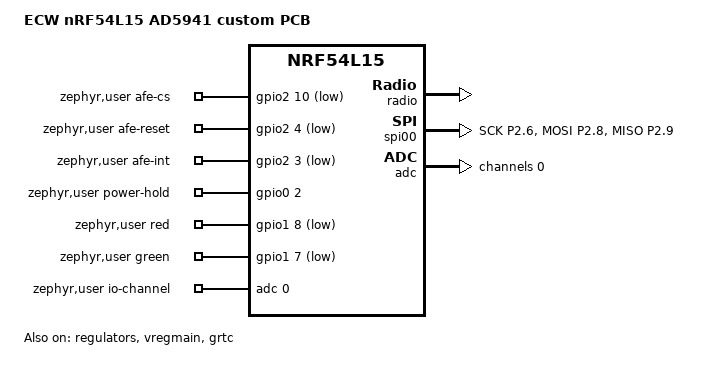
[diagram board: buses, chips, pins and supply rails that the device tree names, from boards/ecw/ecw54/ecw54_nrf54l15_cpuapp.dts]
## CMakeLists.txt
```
cmake_minimum_required(VERSION 3.20.0)
list(APPEND BOARD_ROOT ${CMAKE_CURRENT_SOURCE_DIR})
find_package(Zephyr REQUIRED HINTS $ENV{ZEPHYR_BASE})
project(ecw_single_channel)
target_sources(app PRIVATE
 src/main.c src/power.c src/led.c src/ble.c src/ble_conn.c src/ble_bat.c
 src/ble_aabb.c src/ble_aabb_aab0_ctrl.c src/ble_aabb_aabf_data.c src/ble_aabb_aabe_log.c
 src/method/ec_method.c src/method/methods.c src/method/method_cv.c src/method/method_dpv.c
 src/method/proxy/ec_proxy_bus.c src/method/proxy/ec_proxy_lpamp.c
 src/method/proxy/ec_proxy_cv.c src/method/proxy/ec_proxy_dpv.c
 src/mux/mux.c src/ad5941_port/ad5940_port.c driver/battery.c lib/ad5940/ad5940.c)
target_include_directories(app PRIVATE . src src/method src/ad5941_port lib/ad5940)
target_compile_definitions(app PRIVATE CHIPSEL_594X=1 ECW_AUTOTEST_ENABLE=0)
```

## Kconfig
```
mainmenu "Single electrode electrochemical workstation"
source "Kconfig.zephyr"
menu "Electrochemical workstation"
config ECW_POWER_HOLD
    bool "Drive P0.02 high through D1 to hold LDO EN"
    default y
config ECW_ADC_REFERENCE_MV
    int "Measured AD5941 ADC reference in mV"
    range 1700 1900
    default 1820
config ECW_RTIA_SCALE_PPM
    int "Measured RTIA / nominal RTIA, parts per million"
    range 500000 1500000
    default 1000000
endmenu
config ECW_DISCONNECT_POWEROFF
    bool "Remove power hold after BLE disconnect instead of advertising again"
    default n
config ECW_RCAL_OHM
    int "RCAL resistor R8 in ohms"
    range 1 100000
    default 200
```

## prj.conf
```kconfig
# ─── Logging / Console ───────────────────────────────────────────────────────
CONFIG_LOG=y
CONFIG_CONSOLE=n
CONFIG_UART_CONSOLE=n
CONFIG_PRINTK=y
CONFIG_SERIAL=n
CONFIG_USE_SEGGER_RTT=y
CONFIG_SHELL_BACKEND_RTT=n
CONFIG_LOG_BACKEND_RTT_MODE_DROP=y
CONFIG_LOG_BACKEND_RTT_MESSAGE_SIZE=128

# printf float support
CONFIG_CBPRINTF_NANO=n
CONFIG_CBPRINTF_FP_SUPPORT=y

# ─── Peripheral drivers (reserved for ECW hardware interface) ─────────────────
CONFIG_SPI=y
CONFIG_DAC=n

# ─── Bluetooth Core ──────────────────────────────────────────────────────────
CONFIG_BT=y
CONFIG_BT_PERIPHERAL=y
CONFIG_BT_DEVICE_NAME="ECW R1"

# ─── GATT ────────────────────────────────────────────────────────────────────
CONFIG_BT_GATT_CLIENT=y

# ─── PHY / DLE ───────────────────────────────────────────────────────────────
CONFIG_BT_CTLR_PHY_2M=y
CONFIG_BT_USER_PHY_UPDATE=y
CONFIG_BT_USER_DATA_LEN_UPDATE=y
CONFIG_BT_CTLR_DATA_LENGTH_MAX=251

# ─── MTU ─────────────────────────────────────────────────────────────────────
CONFIG_BT_L2CAP_TX_MTU=500
CONFIG_BT_BUF_ACL_TX_SIZE=500
CONFIG_BT_BUF_ACL_RX_SIZE=500
CONFIG_BT_BUF_ACL_TX_COUNT=10
CONFIG_BT_BUF_EVT_RX_COUNT=11
CONFIG_BT_ATT_TX_COUNT=10

# BLE 功率
CONFIG_BT_CTLR_TX_PWR_PLUS_7=y

# ─── BLE Services ────────────────────────────────────────────────────────────
CONFIG_BT_BAS=y
CONFIG_BT_DIS=y


################################
# DIS 信息（不走 settings）
################################
CONFIG_BT_DIS_PNP=n
CONFIG_BT_DIS_MODEL_NUMBER_STR="MinNeuro R1"
CONFIG_BT_DIS_MANUF_NAME_STR="MinNeuro"

CONFIG_BT_DIS_SERIAL_NUMBER=y
CONFIG_BT_DIS_SERIAL_NUMBER_STR="F.A000001"

CONFIG_BT_DIS_FW_REV=y
CONFIG_BT_DIS_FW_REV_STR="1.2.0-single"
CONFIG_BT_DIS_HW_REV=y
CONFIG_BT_DIS_HW_REV_STR="MinNeuro Hardware"
CONFIG_BT_DIS_SW_REV=y
CONFIG_BT_DIS_SW_REV_STR="MinNeuro Software"


################################
# ❌ 明确关闭 settings（否则必炸）
################################
CONFIG_BT_SETTINGS=n
CONFIG_SETTINGS=n
CONFIG_BT_DIS_SETTINGS=n


################################
# CONFIG
################################

# looper_work_handler 运行于系统工作队列线程，适当加大其栈空间
CONFIG_SYSTEM_WORKQUEUE_STACK_SIZE=4096
# main 线程栈
CONFIG_MAIN_STACK_SIZE=2048

CONFIG_GPIO=y
CONFIG_PWM=n
CONFIG_SPI=y
CONFIG_PINCTRL=y
CONFIG_NRFX_SPIM=y
CONFIG_NRFX_SAADC=y
CONFIG_NRFX_SPIS=n

# ECW additions
CONFIG_REBOOT=y
CONFIG_ADC=y

# CONFIG_NRFX_TIMER=y
# CONFIG_PINCTRL=y
# # CONFIG_I2C=y
# CONFIG_ADC=y
# CONFIG_NRFX_SAADC=y
# CONFIG_REBOOT=y

CONFIG_LOG_BACKEND_RTT=y
CONFIG_POWEROFF=y
CONFIG_SYS_CLOCK_TICKS_PER_SEC=10000
```

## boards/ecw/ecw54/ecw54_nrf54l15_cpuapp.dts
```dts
/dts-v1/;
#include <nordic/nrf54l15_cpuapp.dtsi>
#include <zephyr/dt-bindings/gpio/gpio.h>
#include <zephyr/dt-bindings/pinctrl/nrf-pinctrl.h>
#include <zephyr/dt-bindings/adc/adc.h>
#include <zephyr/dt-bindings/adc/nrf-saadc.h>
#include <zephyr/dt-bindings/regulator/nrf5x.h>
/ {
    model = "ECW nRF54L15 AD5941 custom PCB";
    compatible = "ecw,ecw54";
    chosen {
        zephyr,sram = &cpuapp_sram;
        zephyr,flash = &cpuapp_rram;
        zephyr,flash-controller = &rram_controller;
        zephyr,code-partition = &app_partition;
    };
    zephyr,user {
        afe-cs-gpios = <&gpio2 10 GPIO_ACTIVE_LOW>;
        afe-reset-gpios = <&gpio2 4 GPIO_ACTIVE_LOW>;
        afe-int-gpios = <&gpio2 3 GPIO_ACTIVE_LOW>;
        power-hold-gpios = <&gpio0 2 GPIO_ACTIVE_HIGH>;
        red-gpios = <&gpio1 8 GPIO_ACTIVE_LOW>;
        green-gpios = <&gpio1 7 GPIO_ACTIVE_LOW>;
        io-channels = <&adc 0>;
    };
};
&cpuapp_rram {
    partitions {
        compatible = "fixed-partitions";
        #address-cells = <1>;
        #size-cells = <1>;
        app_partition: partition@0 {
            label = "application";
            reg = <0x0 DT_SIZE_K(1524)>;
        };
    };
};
&cpuapp_sram { status = "okay"; };
&gpio0 { status = "okay"; };
&gpio1 { status = "okay"; };
&gpio2 { status = "okay"; };
&gpiote20 { status = "okay"; };
&gpiote30 { status = "okay"; };
&clock { status = "okay"; };
&radio { status = "okay"; };
&regulators { status = "okay"; };
&vregmain {
    status = "okay";
    regulator-initial-mode = <NRF5X_REG_MODE_DCDC>;
};
/* The schematic already fits external load capacitors on both crystals. */
&hfxo { load-capacitors = "external"; };
&lfxo { load-capacitors = "external"; };
&grtc {
    status = "okay";
    owned-channels = <0 1 2 3 4 5 6 7 8 9 10 11>;
    child-owned-channels = <3 4 7 8 9 10 11>;
};
&pinctrl {
    afe_spi_default: afe_spi_default {
        group1 {
            psels = <NRF_PSEL(SPIM_SCK, 2, 6)>,
                    <NRF_PSEL(SPIM_MOSI, 2, 8)>,
                    <NRF_PSEL(SPIM_MISO, 2, 9)>;
        };
    };
    afe_spi_sleep: afe_spi_sleep {
        group1 {
            psels = <NRF_PSEL(SPIM_SCK, 2, 6)>,
                    <NRF_PSEL(SPIM_MOSI, 2, 8)>,
                    <NRF_PSEL(SPIM_MISO, 2, 9)>;
            low-power-enable;
        };
    };
};
&spi00 {
    status = "okay";
    pinctrl-0 = <&afe_spi_default>;
    pinctrl-1 = <&afe_spi_sleep>;
    pinctrl-names = "default", "sleep";
    /* Manual CS is held across the ADI library's split byte transfers. */
};
&adc {
    status = "okay";
    #address-cells = <1>;
    #size-cells = <0>;
    channel@0 {
        reg = <0>;
        zephyr,gain = "ADC_GAIN_1_4";
        zephyr,reference = "ADC_REF_INTERNAL";
        zephyr,acquisition-time = <ADC_ACQ_TIME_DEFAULT>;
        zephyr,input-positive = <NRF_SAADC_AIN7>;
        zephyr,resolution = <12>;
        zephyr,oversampling = <4>;
    };
};
```

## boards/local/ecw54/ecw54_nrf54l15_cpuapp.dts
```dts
/dts-v1/;
#include <nordic/nrf54l15_cpuapp.dtsi>
#include <zephyr/dt-bindings/pinctrl/nrf-pinctrl.h>
/ {
 model = "ECW nRF54L15 AD5941 single channel";
 compatible = "local,ecw54";
 chosen {
  zephyr,flash-controller = &rram_controller;
  zephyr,flash = &cpuapp_rram;
  zephyr,sram = &cpuapp_sram;
  zephyr,code-partition = &slot0_partition;
 };
};
#include <vendor/nordic/nrf54l15_cpuapp_partition.dtsi>
&cpuapp_sram { status = "okay"; };
&lfxo { load-capacitors = "external"; };
&hfxo { load-capacitors = "external"; };
&regulators { status = "okay"; };
&vregmain { status = "okay"; regulator-initial-mode = <NRF5X_REG_MODE_LDO>; };
&grtc {
 owned-channels = <0 1 2 3 4 5 6 7 8 9 10 11>;
 child-owned-channels = <3 4 7 8 9 10 11>;
 status = "okay";
};
&clock { status = "okay"; };
&gpio0 { status = "okay"; };
&gpio1 { status = "okay"; };
&gpio2 { status = "okay"; };
&gpiote20 { status = "okay"; };
&gpiote30 { status = "okay"; };
&radio { status = "okay"; };
&adc { status = "okay"; };
&pinctrl {
 spi00_default: spi00_default {
  group1 { psels = <NRF_PSEL(SPIM_SCK, 2, 6)>, <NRF_PSEL(SPIM_MISO, 2, 9)>, <NRF_PSEL(SPIM_MOSI, 2, 8)>; };
 };
 spi00_sleep: spi00_sleep {
  group1 { psels = <NRF_PSEL(SPIM_SCK, 2, 6)>, <NRF_PSEL(SPIM_MISO, 2, 9)>, <NRF_PSEL(SPIM_MOSI, 2, 8)>; low-power-enable; };
 };
};
&spi00 {
 compatible = "nordic,nrf-spim";
 status = "okay";
 pinctrl-0 = <&spi00_default>;
 pinctrl-1 = <&spi00_sleep>;
 pinctrl-names = "default", "sleep";
 /* CS P2.10 is controlled manually by the ADI port. */
};
```

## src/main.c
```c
#include <zephyr/kernel.h>
#include "inc/power.h"
#include "inc/led.h"
#include "inc/ble.h"
#include "method/inc/ec_method.h"
#include "method/inc/methods.h"
int main(void) {
 int rc = power_init(); if (rc) return rc;
 rc = led_init(); if (rc) return rc;
 ec_method_init(); methods_register_all();
 rc = ble_init(); if (rc) { led_pattern_error(true); return rc; }
 return 0;
}
```

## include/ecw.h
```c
#ifndef ECW_H
#define ECW_H
#include "ecw_wire.h"
#include <zephyr/sys/atomic.h>
extern atomic_t ecw_stop;
int board_io_init(void);
int board_battery_mv(void);
void board_led_error(bool error);
void board_led_connected(bool connected);
void board_led_advertising(bool advertising);
void board_led_shutdown(void);
int board_power_off(void);
int afe_port_init(void);
int afe_port_error(void);
void afe_port_clear_error(void);
int afe_init(void);
int afe_prepare(bool ocp, int32_t rtia_ohm);
int afe_set_potential(int32_t mv, int32_t *actual_uv);
int afe_current(int32_t *na, uint8_t *flags);
int afe_reduce_current_range(void);
int afe_ocp(int32_t *uv, uint8_t *flags);
int afe_eis_point(const struct ecw_request *r, uint32_t mhz, struct ecw_sample *s);
void afe_idle(void);
bool afe_ready(void);
bool afe_boot_finished(void);
uint16_t afe_chip_id(void);
int afe_select_rtia(int32_t ohm);
int methods_submit(const struct ecw_request *r, uint32_t generation);
void methods_release(void);
bool methods_busy(void);
int methods_stop(uint8_t method);
void methods_state(uint8_t out[5]);
void methods_reset_error(void);
void methods_init(void);
int methods_prepare_poweroff(void);
int ble_link_init(void);
int ble_link_stop(void);
uint32_t ble_session(void);
bool ble_stream_ready(void);
int ble_frame(uint32_t generation, uint8_t method, uint8_t type, uint16_t session, uint16_t seq, const struct ecw_sample *sample);
void ble_log(uint8_t level, uint16_t code, const char *message);
bool ble_error_active(void);
bool ble_connected(void);
int ble_tx_error(void);
#endif
```

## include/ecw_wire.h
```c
#ifndef ECW_WIRE_H
#define ECW_WIRE_H
#include <stdbool.h>
#include <stddef.h>
#include <stdint.h>
enum ecw_method { ECW_IDLE=0, ECW_CV=1, ECW_CA=2, ECW_EIS=3, ECW_DPV=4, ECW_OCP=5, ECW_STIM=6 };
#define ECW_OP_START 3
#define ECW_OP_STOP 4
#define ECW_OP_RESET 5
#define ECW_OP_PING 254
#define ECW_UNSUPPORTED (-95)
struct ecw_request {
    enum ecw_method method;
    uint16_t session_id;
    uint8_t gear;
    int32_t start_mv, vertex1_mv, vertex2_mv, end_mv, step_mv, rate_mv_s;
    uint32_t cycles, period_ms, pulse_ms, duration_ms, interval_ms, quiet_ms;
    int32_t pulse_mv, rtia_ohm;
    uint32_t freq_start_mhz, freq_end_mhz, points_per_dec, averages;
};
struct ecw_sample {
    uint8_t method, flags;
    uint32_t index, elapsed_ms;
    int32_t potential_uv, current_na, base_na, pulse_na;
    uint32_t freq_mhz;
    int32_t z_real_mohm, z_imag_mohm;
};
#define ECW_FLAG_ADC_RAIL 1U
uint16_t wire_u16(const uint8_t *p);
uint32_t wire_u32(const uint8_t *p);
void wire_put16(uint8_t *p, uint16_t v);
void wire_put32(uint8_t *p, uint32_t v);
int8_t wire_error(int rc);
int wire_decode_start(const uint8_t *p, size_t len, struct ecw_request *r);
int wire_validate(const struct ecw_request *r);
size_t wire_frame(uint8_t *out, uint8_t method, uint8_t type, uint16_t session, uint16_t seq, const struct ecw_sample *s);
#endif
```

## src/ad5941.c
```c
#include "ecw.h"
#include "ad5940.h"
#include <zephyr/kernel.h>
#include <math.h>
#include <stdlib.h>
static atomic_t ready;
static uint16_t chip_id;
static float rtia_actual = 10000.0f;
static int32_t rtia_nominal = 10000;
static float avdd_actual = 3.3f;
static int adc_volt(uint32_t p, uint32_t n, float *volt, uint8_t *flags);
/* The library uses the same protocol/register map for AD5940 and AD5941. */
static const struct { int32_t ohm; uint32_t code; } rtias[] = {
    {200,LPTIARTIA_200R},{1000,LPTIARTIA_1K},{2000,LPTIARTIA_2K},
    {3000,LPTIARTIA_3K},{4000,LPTIARTIA_4K},{6000,LPTIARTIA_6K},
    {8000,LPTIARTIA_8K},{10000,LPTIARTIA_10K},{12000,LPTIARTIA_12K},
    {16000,LPTIARTIA_16K},{20000,LPTIARTIA_20K},{24000,LPTIARTIA_24K},
    {30000,LPTIARTIA_30K},{32000,LPTIARTIA_32K},{40000,LPTIARTIA_40K},
    {48000,LPTIARTIA_48K},{64000,LPTIARTIA_64K},{85000,LPTIARTIA_85K},
    {96000,LPTIARTIA_96K},{100000,LPTIARTIA_100K},{120000,LPTIARTIA_120K},
    {128000,LPTIARTIA_128K},{160000,LPTIARTIA_160K},{196000,LPTIARTIA_196K},
    {256000,LPTIARTIA_256K},{512000,LPTIARTIA_512K}
};
int afe_select_rtia(int32_t ohm)
{
    for (size_t i = 0; i < ARRAY_SIZE(rtias); ++i) {
        if (rtias[i].ohm == ohm) { return rtias[i].code; }
    }
    return -EINVAL;
}
bool afe_ready(void) { return atomic_get(&ready); }
uint16_t afe_chip_id(void) { return chip_id; }
void afe_idle(void)
{
    if (!afe_ready()) { return; }
    if (afe_port_error()) {
        /* A failed SPI bus cannot reliably open electrode switches. Hold the
         * independent hardware RESET# low instead; require a power/reboot cycle. */
        AD5940_RstClr();
        atomic_clear(&ready);
        return;
    }
    AD5940_ADCConvtCtrlS(bFALSE);
    AD5940_AFECtrlS(AFECTRL_ALL, bFALSE);
    SWMatrixCfg_Type open = {0};
    AD5940_SWMatrixCfgS(&open);
    /* All electrode paths open, including SE0 -> TIA and RE0 -> PA. */
    AD5940_WriteReg(REG_AFE_LPTIASW0, 0);
    LPAmpCfg_Type amp = { .LpAmpSel = LPAMP0 };
    AD5940_LPAMPCfgS(&amp);
    LPDACCfg_Type dac = { .LpdacSel = LPDAC0 };
    AD5940_LPDACCfgS(&dac);
    if (afe_port_error()) { AD5940_RstClr(); atomic_clear(&ready); }
}
int afe_init(void)
{
    int rc = afe_port_init();
    if (rc) { return rc; }
    afe_port_clear_error();
    AD5940_RstClr(); k_msleep(5);
    AD5940_RstSet(); k_msleep(20); /* R7/C59 reset release RC = 4.7ms. */
    AD5940_Initialize();
    chip_id = AD5940_ReadReg(REG_AFECON_CHIPID);
    uint32_t adi_id = AD5940_ReadReg(REG_AFECON_ADIID);
    if (afe_port_error()) { return afe_port_error(); }
    if (adi_id != 0x4144 || (chip_id != 0x5501 && chip_id != 0x5502)) {
        return -ENODEV; /* Require Si2/Si3 switch configuration. */
    }
    /* Use internal 16MHz HFOSC. The fitted 16MHz crystal is not required. */
    AD5940_AFEPwrBW(AFEPWR_LP, AFEBW_250KHZ);
    AD5940_INTCCfg(AFEINTC_1, AFEINTSRC_SINC2RDY, bTRUE);
    AD5940_INTCClrFlag(AFEINTSRC_ALLINT);
    atomic_set(&ready, 1);
    afe_idle();
    return afe_port_error();
}
int afe_prepare(bool ocp, int32_t rtia_ohm)
{
    if (!afe_ready()) { return -ENODEV; }
    if (afe_port_error()) { return afe_port_error(); }
    int gain = afe_select_rtia(rtia_ohm);
    if (gain < 0) { return gain; }
    afe_idle();
    AD5940_AFEPwrBW(AFEPWR_LP, AFEBW_250KHZ);
    AFERefCfg_Type ref = {
        .HpBandgapEn=bTRUE, .Hp1V8BuffEn=bTRUE, .Hp1V1BuffEn=bTRUE,
        .LpBandgapEn=bTRUE, .LpRefBufEn=bTRUE,
    };
    AD5940_REFCfgS(&ref);
    SWMatrixCfg_Type sw = {0};
    AD5940_SWMatrixCfgS(&sw);
    if (!ocp) {
        LPLoopCfg_Type lp = {0};
        lp.LpDacCfg = (LPDACCfg_Type) {
            .LpdacSel=LPDAC0, .LpDacSrc=LPDACSRC_MMR,
            .LpDacVzeroMux=LPDACVZERO_6BIT, .LpDacVbiasMux=LPDACVBIAS_12BIT,
            .LpDacSW=LPDACSW_VBIAS2LPPA | LPDACSW_VZERO2LPTIA,
            .LpDacRef=LPDACREF_2P5, .PowerEn=bTRUE,
            .DacData6Bit=32, .DacData12Bit=2048,
        };
        lp.LpAmpCfg = (LPAmpCfg_Type) {
            /* Pin 40 (AIN4/LPF0) is unconnected on this PCB. Keep its analog
             * filter resistor disconnected; read the internal LPTIA output. */
            .LpAmpSel=LPAMP0, .LpTiaRf=LPTIARF_OPEN,
            .LpTiaRload=LPTIARLOAD_10R, .LpTiaRtia=(uint32_t)gain,
            .LpAmpPwrMod=LPAMPPWR_NORM, .LpPaPwrEn=bTRUE, .LpTiaPwrEn=bTRUE,
            .LpTiaSW=LPTIASW(2)|LPTIASW(4)|LPTIASW(5)|LPTIASW(12)|LPTIASW(13),
        };
        AD5940_LPLoopCfgS(&lp);
        rtia_actual = rtia_ohm * (CONFIG_ECW_RTIA_SCALE_PPM / 1000000.0f);
        rtia_nominal = rtia_ohm;
    }
    /* In OCP leave PA, TIA, DAC and all electrode switches off. */
    ADCBaseCfg_Type adc = { .ADCMuxP=ADCMUXP_LPTIA0_P,
        .ADCMuxN=ADCMUXN_LPTIA0_N, .ADCPga=ADCPGA_1 };
    AD5940_ADCBaseCfgS(&adc);
    ADCFilterCfg_Type filter = {
        .ADCSinc3Osr=ADCSINC3OSR_4, .ADCSinc2Osr=ADCSINC2OSR_22,
        .ADCAvgNum=ADCAVGNUM_2, .ADCRate=ADCRATE_800KHZ,
        .BpNotch=bTRUE, .BpSinc3=bFALSE,
        .Sinc3ClkEnable=bTRUE, .Sinc2NotchClkEnable=bTRUE, .Sinc2NotchEnable=bTRUE,
    };
    AD5940_ADCFilterCfgS(&filter);
    AD5940_ADCPowerCtrlS(bTRUE);
    k_msleep(5);
    /* Validate both AFE supplies before starting the experiment. The 1.11V
     * reference is nominal; this is a plausibility check, not a voltmeter calibration. */
    float avdd_half, dvdd_half;
    uint8_t flags = 0;
    int rc = adc_volt(ADCMUXP_AVDD_2, ADCMUXN_VSET1P1, &avdd_half, &flags);
    if (rc) { return rc; }
    rc = adc_volt(ADCMUXP_DVDD_2, ADCMUXN_VSET1P1, &dvdd_half, &flags);
    if (rc) { return rc; }
    avdd_actual = 2.0f * (avdd_half + 1.11f);
    float dvdd = 2.0f * (dvdd_half + 1.11f);
    if (flags || avdd_actual < 2.8f || avdd_actual > 3.6f ||
        dvdd < 2.8f || dvdd > 3.6f || fabsf(avdd_actual-dvdd)>0.3f) { return -ERANGE; }
    return afe_port_error();
}
int afe_set_potential(int32_t mv, int32_t *actual_uv)
{
    if (mv < -1000 || mv > 1000) { return -ERANGE; }
    /* E = V_WE - V_RE = Vzero - Vbias. ADI SDK compensation: code--
     * above the 6bit*64 crossover (Amperometric example). */
    int code = 2048 - (int)lroundf(mv * 4095.0f / 2200.0f);
    int applied = code > 2048 ? code - 1 : code;
    if (applied < 0 || applied > 4095) { return -ERANGE; }
    AD5940_LPDAC0WriteS((uint16_t)applied, 32);
    *actual_uv = (int32_t)lroundf((2048 - code) * 2200000.0f / 4095.0f);
    return afe_port_error();
}
static int adc_volt(uint32_t p, uint32_t n, float *volt, uint8_t *flags)
{
    AD5940_ADCConvtCtrlS(bFALSE);
    AD5940_ADCMuxCfgS(p, n);
    AD5940_INTCClrFlag(AFEINTSRC_SINC2RDY);
    AD5940_ADCConvtCtrlS(bTRUE);
    int64_t deadline = k_uptime_get() + 20;
    uint32_t sum = 0, count = 0;
    /* Discard two filter outputs after every MUX/conversion restart. */
    while (count < 10) {
        if (atomic_get(&ecw_stop)) { AD5940_ADCConvtCtrlS(bFALSE); return -ECANCELED; }
        if (afe_port_error() || k_uptime_get() >= deadline) {
            AD5940_ADCConvtCtrlS(bFALSE);
            return afe_port_error() ? afe_port_error() : -ETIMEDOUT;
        }
        if (!AD5940_INTCTestFlag(AFEINTC_1, AFEINTSRC_SINC2RDY)) {
            k_usleep(100); continue;
        }
        AD5940_INTCClrFlag(AFEINTSRC_SINC2RDY);
        uint32_t code = AD5940_ReadAfeResult(AFERESULT_SINC2) & 0xffff;
        if (count >= 2) {
            sum += code;
            if (code < 256 || code > 65279) { *flags |= ECW_FLAG_ADC_RAIL; }
        }
        ++count;
    }
    AD5940_ADCConvtCtrlS(bFALSE);
    *volt = AD5940_ADCCode2Volt((sum + 4) / 8, ADCPGA_1,
                               CONFIG_ECW_ADC_REFERENCE_MV / 1000.0f);
    return afe_port_error();
}
int afe_reduce_current_range(void)
{
    /* Only change TIA gain. Keep PA, DAC, RLOAD and electrode switches intact. */
    static const int32_t gears[]={200,1000,4000,10000,20000,100000,256000,512000};
    if (!afe_ready()) { return -ENODEV; }
    if (atomic_get(&ecw_stop)) { return -ECANCELED; }
    int32_t next=0;
    for (size_t i=0;i<ARRAY_SIZE(gears);++i) {
        if (gears[i]<rtia_nominal) { next=gears[i]; }
    }
    if (!next) { return -ERANGE; }
    uint32_t reg=AD5940_ReadReg(REG_AFE_LPTIACON0);
    if (afe_port_error()) { return afe_port_error(); }
    reg=(reg & ~BITM_AFE_LPTIACON0_TIAGAIN) |
        ((uint32_t)afe_select_rtia(next)<<BITP_AFE_LPTIACON0_TIAGAIN);
    AD5940_WriteReg(REG_AFE_LPTIACON0,reg);
    if (afe_port_error()) { return afe_port_error(); }
    rtia_nominal=next;
    rtia_actual=next*(CONFIG_ECW_RTIA_SCALE_PPM/1000000.0f);
    k_msleep(2);
    return 0;
}
int afe_current(int32_t *na, uint8_t *flags)
{
    float v;
    int rc = adc_volt(ADCMUXP_LPTIA0_P, ADCMUXN_LPTIA0_N, &v, flags);
    if (!rc) {
        /* The LPTIA linear output range is narrower than the ADC code range. */
        if (fabsf(v)>0.85f) { *flags |= ECW_FLAG_ADC_RAIL; }
        /* Anodic-positive convention: conventional current leaves WE towards
         * the cell. Feedback supplies this current, so Vout - V_WE = I*RTIA.
         * ADC LPTIA0_P is output and LPTIA0_N is the summing/WE node.
         * The old minus sign reported cell-to-WE current (cathodic positive). */
        *na = (int32_t)lroundf(v * 1e9f / rtia_actual);
    }
    return rc;
}
int afe_ocp(int32_t *uv, uint8_t *flags)
{
    float we, re;
    /* ADCMUXN has no RE0 option: measure both relative to the SAME 1.11V. */
    int rc = adc_volt(ADCMUXP_VSE0, ADCMUXN_VSET1P1, &we, flags);
    if (rc) { return rc; }
    rc = adc_volt(ADCMUXP_VRE0, ADCMUXN_VSET1P1, &re, flags);
    if (!rc) {
        /* Input common mode must stay inside the documented ADC supply rails. */
        if (we + 1.11f < 0.05f || re + 1.11f < 0.05f ||
            we + 1.11f > avdd_actual - 0.05f ||
            re + 1.11f > avdd_actual - 0.05f) { return -ERANGE; }
        *uv = (int32_t)lroundf((we - re) * 1e6f);
    }
    return rc;
}

/* Bounded, cancellable EIS acquisition, based on the ADI HSRtiaCal signal paths.
 * Do not call the vendor calibration routine: its unbounded DFT polls cannot
 * respond to an APP STOP or a failed SPI bus. */
struct complex_value { double re, im; };
static struct complex_value cdiv(struct complex_value a,struct complex_value b)
{
    double d=b.re*b.re+b.im*b.im;
    return (struct complex_value){(a.re*b.re+a.im*b.im)/d,(a.im*b.re-a.re*b.im)/d};
}
static struct complex_value cmul(struct complex_value a,struct complex_value b)
{
    return (struct complex_value){a.re*b.re-a.im*b.im,a.re*b.im+a.im*b.re};
}
static int pause_ms(uint32_t ms)
{
    int64_t until=k_uptime_get()+ms;
    while (k_uptime_get()<until) {
        if (atomic_get(&ecw_stop)) { return -ECANCELED; }
        if (afe_port_error()) { return afe_port_error(); }
        k_msleep(1);
    }
    return 0;
}
static int32_t signed18(uint32_t v)
{
    v&=0x3ffff;
    return v&0x20000 ? (int32_t)v-0x40000 : (int32_t)v;
}
struct dft_plan { ADCFilterCfg_Type filter; DFTCfg_Type dft; uint32_t timeout_ms, settle_ms; };
static struct dft_plan dft_plan(double hz)
{
    struct dft_plan plan={0};
    static const uint16_t osrs[]={22,44,89,178,267,533,640,667,800,889,1067,1333};
    double fs=200000.0;
    plan.filter=(ADCFilterCfg_Type){.ADCSinc3Osr=ADCSINC3OSR_4,.ADCSinc2Osr=ADCSINC2OSR_22,
        .ADCAvgNum=ADCAVGNUM_2,.ADCRate=ADCRATE_800KHZ,.BpNotch=bTRUE,
        .Sinc3ClkEnable=bTRUE,.Sinc2NotchClkEnable=bTRUE,.Sinc2NotchEnable=bTRUE,
        .DFTClkEnable=bTRUE,.WGClkEnable=bTRUE};
    plan.dft.DftSrc=DFTSRC_SINC3;
    /* Keep 100kHz below Nyquist: 800kSPS / OSR2 = 400kSPS. */
    if (hz>50000) { plan.filter.ADCSinc3Osr=ADCSINC3OSR_2; fs=400000.0; }
    if (hz<1000) {
        unsigned choice=0;
        for (unsigned i=0;i<ARRAY_SIZE(osrs);++i) {
            if (fs/osrs[i]>=hz*16 || i==0) { choice=i; }
        }
        plan.filter.ADCSinc2Osr=choice; fs/=osrs[choice];
        plan.dft.DftSrc=DFTSRC_SINC2NOTCH;
    }
    uint32_t n=4, code=DFTNUM_4;
    while (n<16384 && n<fs/hz*4) { n*=2; ++code; }
    plan.dft.DftNum=code; plan.dft.HanWinEn=bTRUE;
    plan.timeout_ms=(uint32_t)ceil(1000*n/fs)+500;
    plan.settle_ms=(uint32_t)ceil(1000*3/hz)+5;
    return plan;
}
static int take_dft(uint32_t p,uint32_t n,const struct dft_plan *plan,struct complex_value *out)
{
    AD5940_AFECtrlS(AFECTRL_ADCCNV|AFECTRL_DFT,bFALSE);
    AD5940_ADCMuxCfgS(p,n);
    AD5940_INTCClrFlag(AFEINTSRC_DFTRDY);
    int rc=pause_ms(2); if (rc) { return rc; }
    AD5940_AFECtrlS(AFECTRL_ADCCNV|AFECTRL_DFT,bTRUE);
    int64_t until=k_uptime_get()+plan->timeout_ms;
    while (!AD5940_INTCTestFlag(AFEINTC_1,AFEINTSRC_DFTRDY)) {
        if (atomic_get(&ecw_stop)) { rc=-ECANCELED; break; }
        if (afe_port_error()) { rc=afe_port_error(); break; }
        if (k_uptime_get()>=until) { rc=-ETIMEDOUT; break; }
        k_msleep(1);
    }
    AD5940_AFECtrlS(AFECTRL_ADCCNV|AFECTRL_DFT,bFALSE);
    if (rc) { return rc; }
    int32_t real=signed18(AD5940_ReadAfeResult(AFERESULT_DFTREAL));
    int32_t imag=signed18(AD5940_ReadAfeResult(AFERESULT_DFTIMAGE));
    if (abs(real)>=125000 || abs(imag)>=125000) { return -ERANGE; }
    *out=(struct complex_value){real,-imag}; /* ADI DFT imaginary sign. */
    AD5940_INTCClrFlag(AFEINTSRC_DFTRDY);
    return afe_port_error();
}
static int setup_hs(const struct ecw_request *r,double hz,double peak_mv,bool calibrate,const struct dft_plan *plan)
{
    static const uint32_t gears[]={HSTIARTIA_200,HSTIARTIA_1K,HSTIARTIA_5K,HSTIARTIA_10K,
        HSTIARTIA_20K,HSTIARTIA_40K,HSTIARTIA_80K,HSTIARTIA_160K};
    afe_idle();
    if (!afe_ready()) { return -ENODEV; }
    AD5940_AFEPwrBW(hz>80000?AFEPWR_HP:AFEPWR_LP,AFEBW_250KHZ);
    AFERefCfg_Type ref={.HpBandgapEn=bTRUE,.Hp1V8BuffEn=bTRUE,.Hp1V1BuffEn=bTRUE,
        .LpBandgapEn=bTRUE,.LpRefBufEn=bTRUE}; AD5940_REFCfgS(&ref);
    HSLoopCfg_Type hs={0};
    hs.HsTiaCfg=(HSTIACfg_Type){.HstiaBias=HSTIABIAS_1P1,.HstiaRtiaSel=gears[r->gear],
        .HstiaCtia=16,.HstiaDeRtia=HSTIADERTIA_OPEN,.HstiaDeRload=HSTIADERLOAD_OPEN};
    double full_peak;
    if (peak_mv<=20) {
        hs.HsDacCfg.ExcitBufGain=EXCITBUFGAIN_0P25; hs.HsDacCfg.HsDacGain=HSDACGAIN_0P2; full_peak=20;
    } else {
        hs.HsDacCfg.ExcitBufGain=EXCITBUFGAIN_0P25; hs.HsDacCfg.HsDacGain=HSDACGAIN_1; full_peak=100;
    }
    hs.HsDacCfg.HsDacUpdateRate=7;
    hs.WgCfg.WgType=WGTYPE_SIN;
    hs.WgCfg.GainCalEn=bTRUE; hs.WgCfg.OffsetCalEn=bTRUE;
    hs.WgCfg.SinCfg.SinFreqWord=AD5940_WGFreqWordCal(hz,16000000.0f);
    hs.WgCfg.SinCfg.SinAmplitudeWord=(uint32_t)lround(peak_mv/full_peak*2047);
    if (calibrate) {
        hs.SWMatCfg=(SWMatrixCfg_Type){.Dswitch=SWD_RCAL0,.Pswitch=SWP_RCAL0,
            .Nswitch=SWN_RCAL1,.Tswitch=SWT_RCAL1|SWT_TRTIA};
    } else {
        /* SE0 pad -> 100-ohm SE0 load switch -> HSTIA. DE0 is not used. */
        hs.SWMatCfg=(SWMatrixCfg_Type){.Dswitch=SWD_CE0,.Pswitch=SWP_RE0,
            .Nswitch=SWN_SE0,.Tswitch=SWT_SE0LOAD|SWT_TRTIA};
        hs.HsTiaCfg.HstiaBias=HSTIABIAS_VZERO0;
        LPDACCfg_Type dac={.LpdacSel=LPDAC0,.LpDacSrc=LPDACSRC_MMR,
            .LpDacVzeroMux=LPDACVZERO_6BIT,.LpDacVbiasMux=LPDACVBIAS_12BIT,
            .LpDacSW=LPDACSW_VBIAS2PIN|LPDACSW_VZERO2HSTIA,.LpDacRef=LPDACREF_2P5,
            .PowerEn=bTRUE,.DacData6Bit=32,.DacData12Bit=2048};
        AD5940_LPDACCfgS(&dac);
        int32_t actual; int rc=afe_set_potential(r->start_mv,&actual); if (rc) { return rc; }
    }
    AD5940_HSLoopCfgS(&hs);
    ADCBaseCfg_Type adc={.ADCMuxP=ADCMUXP_P_NODE,.ADCMuxN=ADCMUXN_N_NODE,.ADCPga=ADCPGA_1P5};
    AD5940_ADCBaseCfgS(&adc);
    ADCFilterCfg_Type filter=plan->filter; AD5940_ADCFilterCfgS(&filter);
    DFTCfg_Type dft=plan->dft; AD5940_DFTCfgS(&dft);
    AD5940_INTCCfg(AFEINTC_1,AFEINTSRC_DFTRDY,bTRUE);
    AD5940_AFECtrlS(AFECTRL_HSTIAPWR|AFECTRL_INAMPPWR|AFECTRL_EXTBUFPWR|AFECTRL_DACREFPWR|
        AFECTRL_HSDACPWR|AFECTRL_SINC2NOTCH|AFECTRL_WG|AFECTRL_ADCPWR|
        (calibrate?0:AFECTRL_DCBUFPWR),bTRUE);
    return pause_ms(plan->settle_ms);
}
int afe_eis_point(const struct ecw_request *r,uint32_t mhz,struct ecw_sample *s)
{
    static const double nominal[]={200,1000,5000,10000,20000,40000,80000,160000};
    double requested_hz=mhz/1000.0;
    /* Report the frequency the 30-bit WG can actually generate. */
    uint32_t word=AD5940_WGFreqWordCal(requested_hz,16000000.0f);
    double hz=word*16000000.0/1073741824.0;
    struct dft_plan plan=dft_plan(hz);
    double cal_peak=fmin(50.0,300.0*CONFIG_ECW_RCAL_OHM/nominal[r->gear]);
    int rc=setup_hs(r,hz,cal_peak,true,&plan); if (rc) { return rc; }
    struct complex_value vcal, vtia, rtia;
    rc=take_dft(ADCMUXP_P_NODE,ADCMUXN_N_NODE,&plan,&vcal); if (rc) { return rc; }
    rc=take_dft(ADCMUXP_HSTIA_P,ADCMUXN_HSTIA_N,&plan,&vtia); if (rc) { return rc; }
    if (hypot(vcal.re,vcal.im)<2 || hypot(vtia.re,vtia.im)<2) { return -ERANGE; }
    rtia=cdiv((struct complex_value){-vtia.re,-vtia.im},vcal);
    rtia.re*=CONFIG_ECW_RCAL_OHM; rtia.im*=CONFIG_ECW_RCAL_OHM;
    double magnitude=hypot(rtia.re,rtia.im);
    if (!isfinite(magnitude)||magnitude<nominal[r->gear]*0.25||magnitude>nominal[r->gear]*4) { return -ERANGE; }
    rc=setup_hs(r,hz,r->pulse_mv,false,&plan); if (rc) { return rc; }
    struct complex_value total={0};
    for (uint32_t i=0;i<r->averages;++i) {
        struct complex_value voltage,current;
        rc=take_dft(ADCMUXP_P_NODE,ADCMUXN_N_NODE,&plan,&voltage); if (rc) { return rc; }
        rc=take_dft(ADCMUXP_HSTIA_P,ADCMUXN_HSTIA_N,&plan,&current); if (rc) { return rc; }
        if (hypot(current.re,current.im)<2) { return -ERANGE; }
        struct complex_value z=cmul(cdiv((struct complex_value){-voltage.re,-voltage.im},current),rtia);
        total.re+=z.re; total.im+=z.im;
    }
    double re=total.re/r->averages*1000, im=total.im/r->averages*1000;
    if (!isfinite(re)||!isfinite(im)||fabs(re)>2147483647.0||fabs(im)>2147483647.0) { return -ERANGE; }
    s->freq_mhz=(uint32_t)llround(hz*1000); s->z_real_mohm=(int32_t)llround(re); s->z_imag_mohm=(int32_t)llround(im);
    return afe_port_error();
}
```

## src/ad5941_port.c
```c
#include "ecw.h"
#include "ad5940.h"
#include <zephyr/kernel.h>
#include <zephyr/drivers/spi.h>
#include <zephyr/drivers/gpio.h>
#include <string.h>
#define IO DT_PATH(zephyr_user)
static const struct device *const bus = DEVICE_DT_GET(DT_NODELABEL(spi00));
static const struct gpio_dt_spec cs = GPIO_DT_SPEC_GET(IO, afe_cs_gpios);
static const struct gpio_dt_spec reset = GPIO_DT_SPEC_GET(IO, afe_reset_gpios);
static const struct gpio_dt_spec irq = GPIO_DT_SPEC_GET(IO, afe_int_gpios);
static const struct spi_config config = {
    .frequency = 2000000, .operation = SPI_OP_MODE_MASTER | SPI_WORD_SET(8) | SPI_TRANSFER_MSB,
};
static int io_error;
static void remember(int rc) { if (rc < 0 && !io_error) { io_error = rc; } }
int afe_port_error(void) { return io_error; }
void afe_port_clear_error(void) { io_error = 0; }
int afe_port_init(void)
{
    if (!device_is_ready(bus) || !gpio_is_ready_dt(&cs) ||
        !gpio_is_ready_dt(&reset) || !gpio_is_ready_dt(&irq)) { return -ENODEV; }
    int rc = gpio_pin_configure_dt(&cs, GPIO_OUTPUT_INACTIVE);
    if (rc) { return rc; }
    rc = gpio_pin_configure_dt(&reset, GPIO_OUTPUT_INACTIVE);
    if (rc) { return rc; }
    return gpio_pin_configure_dt(&irq, GPIO_INPUT);
}
void AD5940_CsClr(void) { remember(gpio_pin_set_dt(&cs, 1)); k_busy_wait(1); }
void AD5940_CsSet(void) { remember(gpio_pin_set_dt(&cs, 0)); k_busy_wait(1); }
void AD5940_RstClr(void) { remember(gpio_pin_set_dt(&reset, 1)); }
void AD5940_RstSet(void) { remember(gpio_pin_set_dt(&reset, 0)); }
void AD5940_Delay10us(uint32_t time)
{
    while (time >= 100) { k_msleep(1); time -= 100; }
    if (time) { k_busy_wait(time * 10); }
}
void AD5940_ReadWriteNBytes(unsigned char *tx, unsigned char *rx, unsigned long length)
{
    struct spi_buf tb = { .buf = tx, .len = length };
    struct spi_buf rb = { .buf = rx, .len = length };
    struct spi_buf_set ts = { .buffers = &tb, .count = 1 };
    struct spi_buf_set rs = { .buffers = &rb, .count = 1 };
    if (io_error) { memset(rx, 0, length); return; }
    int rc = spi_transceive(bus, &config, &ts, &rs);
    if (rc) { memset(rx, 0, length); remember(rc); }
}
uint32_t AD5940_GetMCUIntFlag(void)
{
    int level = gpio_pin_get_dt(&irq);
    remember(level);
    return level > 0;
}
uint32_t AD5940_ClrMCUIntFlag(void) { return 0; }
uint32_t AD5940_MCUResourceInit(void *cfg) { ARG_UNUSED(cfg); return 0; }
```

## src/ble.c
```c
#include "inc/ble.h"

#include <zephyr/sys/util.h>
#include <zephyr/bluetooth/bluetooth.h>
#include <zephyr/bluetooth/gatt.h>
#include <zephyr/logging/log.h>

#include "inc/ble_conn.h"
#include "inc/ble_bat.h"
#include "inc/ble_aabb.h"

LOG_MODULE_REGISTER(ble, LOG_LEVEL_INF);

static void mtu_updated(struct bt_conn *conn, uint16_t tx, uint16_t rx)
{
	LOG_INF("MTU updated: TX=%d RX=%d bytes", tx, rx);
}

static struct bt_gatt_cb gatt_callbacks = { .att_mtu_updated = mtu_updated };

int ble_init(void)
{
  int err;

  err = bt_enable(NULL);
  if (err) {
    return err;
  }
  bt_gatt_cb_register(&gatt_callbacks);

  err = ble_aabb_init();
  if (err) {
    return err;
  }

  err = ble_bat_init();
  if (err) {
    LOG_WRN("Battery service init failed (%d), continuing", err);
  }

  err = ble_adv_init();
  if (err) {
    return err;
  }

  err = ble_adv_start();
  if (err) {
    return err;
  }

  /* 广播已启动，开始未连接超时计时 */
  ble_conn_timeout_start();

  return 0;
}

int ble_uninit(void)
{
  return 0;
}
```

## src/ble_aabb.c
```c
#include "inc/ble_aabb_priv.h"

#include <zephyr/bluetooth/bluetooth.h>
#include <zephyr/bluetooth/hci.h>
#include <zephyr/bluetooth/conn.h>
#include <zephyr/bluetooth/uuid.h>
#include <zephyr/bluetooth/gatt.h>
#include <zephyr/logging/log.h>

LOG_MODULE_REGISTER(aabb, LOG_LEVEL_INF);

/*
 **************************************************
 *  Bluetooth LE — Service 0xAABB
 *  Electrochemical Workstation (ECW)
 **************************************************
 */

/* Service UUID */
struct bt_uuid_128 aabb_service_uuid = BT_UUID_INIT_128(
    BT_UUID_128_ENCODE(0x0000AABB, 0x0000, 0x1000, 0x8000, 0x00805f9b34fb));

/* 0xAAB0 — Control (READ / WRITE / NOTIFY) */
struct bt_uuid_128 aab0_char_uuid = BT_UUID_INIT_128(
    BT_UUID_128_ENCODE(0x0000AAB0, 0x0000, 0x1000, 0x8000, 0x00805f9b34fb));

/* 0xAABF — Data stream (READ / NOTIFY) */
struct bt_uuid_128 aabf_char_uuid = BT_UUID_INIT_128(
    BT_UUID_128_ENCODE(0x0000AABF, 0x0000, 0x1000, 0x8000, 0x00805f9b34fb));

/* 0xAABE — Device log (READ / WRITE / NOTIFY) */
struct bt_uuid_128 aabe_char_uuid = BT_UUID_INIT_128(
    BT_UUID_128_ENCODE(0x0000AABE, 0x0000, 0x1000, 0x8000, 0x00805f9b34fb));

BT_GATT_SERVICE_DEFINE(aabb_service,
    BT_GATT_PRIMARY_SERVICE(&aabb_service_uuid),

    /* Control */
    BT_GATT_CHARACTERISTIC(&aab0_char_uuid.uuid,
        BT_GATT_CHRC_WRITE | BT_GATT_CHRC_WRITE_WITHOUT_RESP |
        BT_GATT_CHRC_NOTIFY | BT_GATT_CHRC_READ,
        BT_GATT_PERM_READ | BT_GATT_PERM_WRITE,
        ble_on_aab0_read_request, ble_on_aab0_write_request, NULL),
    BT_GATT_CCC(ble_ccc_cfg_changed_aab0, BT_GATT_PERM_READ | BT_GATT_PERM_WRITE),

    /* Data stream */
    BT_GATT_CHARACTERISTIC(&aabf_char_uuid.uuid,
        BT_GATT_CHRC_NOTIFY | BT_GATT_CHRC_READ,
        BT_GATT_PERM_READ,
        NULL, NULL, NULL),
    BT_GATT_CCC(ble_ccc_cfg_changed_aabf, BT_GATT_PERM_READ | BT_GATT_PERM_WRITE),

    /* Device log */
    BT_GATT_CHARACTERISTIC(&aabe_char_uuid.uuid,
        BT_GATT_CHRC_NOTIFY | BT_GATT_CHRC_READ |
        BT_GATT_CHRC_WRITE | BT_GATT_CHRC_WRITE_WITHOUT_RESP,
        BT_GATT_PERM_READ | BT_GATT_PERM_WRITE,
        ble_on_aabe_read_request, ble_on_aabe_write_request, NULL),
    BT_GATT_CCC(ble_ccc_cfg_changed_aabe, BT_GATT_PERM_READ | BT_GATT_PERM_WRITE),
);

/*
 **************************************************
 *  Worker loop
 **************************************************
 */

#define LOOPER_INTERVAL_MS 10u

static void looper_work_handler(struct k_work *work);
static K_WORK_DELAYABLE_DEFINE(looper_work, looper_work_handler);

static void looper_work_handler(struct k_work *work)
{
    ble_aabf_loop();
    ble_aabe_loop();
    k_work_reschedule(k_work_delayable_from_work(work), K_MSEC(LOOPER_INTERVAL_MS));
}

int ble_aabb_init(void)
{
    int err;

    err = ble_aab0_init();
    if (err) {
        return err;
    }

    err = ble_aabf_init();
    if (err) {
        return err;
    }

    err = ble_aabe_init();
    if (err) {
        return err;
    }

    /* Delay 200 ms so all Bluetooth internals are settled before the loop starts. */
    k_work_schedule(&looper_work, K_MSEC(200));
    return 0;
}
```

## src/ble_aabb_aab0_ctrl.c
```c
/*
 * 0xAAB0 — Control characteristic
 *
 * Wire protocol (docs/ble-protocol.md §4):
 *   Write format (host → device) — ALL commands share a common 2-byte prefix:
 *     [session_id_lo][session_id_hi][opcode][...]
 *
 *     START  [sid_lo][sid_hi][0x03][method_id][param_len_lo][param_len_hi][params...]
 *     STOP   [sid_lo][sid_hi][0x04][method_id]
 *     RESET  [sid_lo][sid_hi][0x05]
 *     PING   [sid_lo][sid_hi][0xFE]
 *
 *   Read response:
 *     [0] state               (0=idle, 2=run, 0xFF=err)
 *     [1] current_method_id
 *     [2] last_error          (signed)
 *     [3] firmware_minor
 *     [4] firmware_major
 *
 *   Notify ACK (4 bytes):
 *     [0-1] session_id LE u16  [2] opcode  [3] status
 */

#include "inc/ble_aabb_priv.h"
#include "method/inc/ec_method.h"
#include "inc/led.h"

#include <string.h>
#include <errno.h>
#include <zephyr/kernel.h>
#include <zephyr/logging/log.h>

LOG_MODULE_REGISTER(aab0, LOG_LEVEL_INF);

#define FW_MAJOR  1
#define FW_MINOR  2

#define OP_START  0x03
#define OP_STOP   0x04
#define OP_RESET  0x05
#define OP_PING   0xFE

#define STATUS_ENOTSUP  (-95)  /* Wire status is int8; Zephyr ENOTSUP may be 134. */

#define STATE_WIRE_LEN 5u

static volatile bool s_notify_enabled;

void ble_ccc_cfg_changed_aab0(const struct bt_gatt_attr *attr, uint16_t value)
{
    ARG_UNUSED(attr);
    s_notify_enabled = (value == BT_GATT_CCC_NOTIFY);
    LOG_INF("Notify[AAB0] %s", s_notify_enabled ? "on" : "off");
}

static uint16_t build_state_wire(uint8_t *out)
{
    out[0] = (uint8_t)ec_method_state();
    out[1] = (uint8_t)ec_method_current();
    out[2] = (uint8_t)((int8_t)ec_method_last_error());
    out[3] = (uint8_t)FW_MINOR;
    out[4] = (uint8_t)FW_MAJOR;
    return STATE_WIRE_LEN;
}

ssize_t ble_on_aab0_read_request(struct bt_conn *conn, const struct bt_gatt_attr *attr,
                                 void *buf, uint16_t len, uint16_t offset)
{
    uint8_t wire[STATE_WIRE_LEN];
    uint16_t wire_len = build_state_wire(wire);
    return bt_gatt_attr_read(conn, attr, buf, len, offset, wire, wire_len);
}

static void send_ack(uint8_t opcode, int8_t status, uint16_t session_id)
{
    if (!s_notify_enabled) return;
    uint8_t pkt[4] = {
        (uint8_t)(session_id & 0xFF),
        (uint8_t)((session_id >> 8) & 0xFF),
        opcode,
        (uint8_t)status,
    };
    (void)bt_gatt_notify(NULL, &aabb_service.attrs[CTRL_AAB0_INDEX],
                         pkt, sizeof(pkt));
}

static int8_t wire_status_from_rc(int rc)
{
    if (rc == -ENOTSUP) {
        return STATUS_ENOTSUP;
    }
    if (rc < -128) {
        return -128;
    }
    if (rc > 127) {
        return 127;
    }
    return (int8_t)rc;
}

ssize_t ble_on_aab0_write_request(struct bt_conn *conn, const struct bt_gatt_attr *attr,
                                  const void *buf, uint16_t len, uint16_t offset,
                                  uint8_t flags)
{
    ARG_UNUSED(conn);
    ARG_UNUSED(attr);
    if (offset) return BT_GATT_ERR(BT_ATT_ERR_INVALID_OFFSET);
    ARG_UNUSED(flags);

    if (len < 3u) {
        return BT_GATT_ERR(BT_ATT_ERR_INVALID_ATTRIBUTE_LEN);
    }
    const uint8_t *d = (const uint8_t *)buf;
    uint16_t session_id     = (uint16_t)d[0] | ((uint16_t)d[1] << 8);
    uint8_t  opcode         = d[2];
    uint16_t ack_session_id = session_id;
    int rc = 0;

    switch (opcode) {
    case OP_START: {
        /* [sid_lo][sid_hi][0x03][id][plen_lo][plen_hi][params...] */
        if (len < 6u) { rc = -EINVAL; break; }
        uint8_t  id   = d[3];
        uint16_t plen = (uint16_t)d[4] | ((uint16_t)d[5] << 8);
        if ((uint32_t)len != 6u + (uint32_t)plen) { rc = -EMSGSIZE; break; }
        rc = ec_method_start((ec_method_id_t)id, session_id, &d[6], plen);
        led_set_ec_running(ec_method_state() == EC_STATE_RUNNING);
        break;
    }

    case OP_STOP:
        /* [sid_lo][sid_hi][0x04][id] */
        if (len != 4u) { rc = -EINVAL; break; }
        if (ec_method_current_session_id() && session_id != ec_method_current_session_id()) { rc = -EINVAL; break; }
        rc = ec_method_stop((ec_method_id_t)d[3]);
        if (rc == 0) {
            led_set_ec_running(false);
        }
        break;

    case OP_RESET:
        rc = ec_method_force_stop();
        led_set_ec_running(false);
        break;

    case OP_PING:
        rc = 0;
        break;

    default:
        LOG_WRN("AAB0: unknown opcode 0x%02x", opcode);
        (void)ble_log_eventf(BLE_LOG_LEVEL_WARN, 0x2101u,
                             "Unknown control opcode 0x%02x", opcode);
        rc = -ENOTSUP;
        break;
    }

    int8_t st = wire_status_from_rc(rc);
    send_ack(opcode, st, ack_session_id);
    return (ssize_t)len;
}

int ble_aab0_init(void)
{
    return 0;
}
```

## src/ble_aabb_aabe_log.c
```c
#include "inc/ble_aabb_priv.h"
#include "inc/led.h"

#include <errno.h>
#include <stdarg.h>
#include <stdio.h>
#include <string.h>
#include <zephyr/kernel.h>
#include <zephyr/logging/log.h>
#include <zephyr/sys/byteorder.h>

LOG_MODULE_REGISTER(aabe, LOG_LEVEL_INF);

/*
 * 0xAABE - Device log characteristic (READ / WRITE / NOTIFY)
 *
 * Notify/read payload:
 *   [0]    version = 1
 *   [1]    level: 1=INFO, 2=WARN, 3=ERROR
 *   [2-3]  log_id (LE u16)
 *   [4-7]  uptime_ms (LE u32)
 *   [8-9]  code (LE u16)
 *   [10]   flags: bit0=requires_ack, bit1=active_error
 *   [11]   message_len
 *   [12..] UTF-8 message bytes
 *
 * Host write payload:
 *   [0]    action: 1=ignore/acknowledge, 2=handled
 *   [1-2]  log_id (LE u16)
 *
 * A write means the user intentionally dismissed the visible error state.  It
 * clears the active error latch globally; the host is not expected to
 * acknowledge every historical error one by one.
 */

#define LOG_WIRE_VERSION        1u
#define LOG_WIRE_HEADER_LEN     12u
#define LOG_MESSAGE_MAX_LEN     180u
#define LOG_WIRE_MAX_LEN        (LOG_WIRE_HEADER_LEN + LOG_MESSAGE_MAX_LEN)

#define LOG_FLAG_REQUIRES_ACK   0x01u
#define LOG_FLAG_ACTIVE_ERROR   0x02u

#define LOG_ACTION_IGNORE       0x01u
#define LOG_ACTION_HANDLED      0x02u

typedef struct {
    uint16_t        id;
    ble_log_level_t level;
    uint32_t        uptime_ms;
    uint16_t        code;
    char            message[LOG_MESSAGE_MAX_LEN + 1u];
} aabe_log_record_t;

typedef struct {
    aabe_log_record_t latest;
    uint8_t           notify_buf[LOG_WIRE_MAX_LEN];
    uint16_t          notify_len;
    uint16_t          next_id;
    uint16_t          pending_error_id;
    volatile bool     notify_enabled;
    volatile bool     notify_ready;
    bool              has_latest;
} aabe_log_state_t;

static aabe_log_state_t s_aabe;
K_MUTEX_DEFINE(s_aabe_lock);

static uint16_t build_wire_locked(const aabe_log_record_t *rec, uint8_t *out)
{
    size_t msg_len = strnlen(rec->message, LOG_MESSAGE_MAX_LEN);
    uint8_t flags = 0;

    if (rec->level == BLE_LOG_LEVEL_ERROR) {
        flags |= LOG_FLAG_REQUIRES_ACK;
        if (s_aabe.pending_error_id == rec->id) {
            flags |= LOG_FLAG_ACTIVE_ERROR;
        }
    }

    out[0] = LOG_WIRE_VERSION;
    out[1] = (uint8_t)rec->level;
    sys_put_le16(rec->id, &out[2]);
    sys_put_le32(rec->uptime_ms, &out[4]);
    sys_put_le16(rec->code, &out[8]);
    out[10] = flags;
    out[11] = (uint8_t)msg_len;
    memcpy(&out[LOG_WIRE_HEADER_LEN], rec->message, msg_len);
    return (uint16_t)(LOG_WIRE_HEADER_LEN + msg_len);
}

void ble_ccc_cfg_changed_aabe(const struct bt_gatt_attr *attr, uint16_t value)
{
    ARG_UNUSED(attr);

    k_mutex_lock(&s_aabe_lock, K_FOREVER);
    s_aabe.notify_enabled = (value == BT_GATT_CCC_NOTIFY);
    if (s_aabe.notify_enabled && s_aabe.has_latest) {
        s_aabe.notify_len = build_wire_locked(&s_aabe.latest, s_aabe.notify_buf);
        s_aabe.notify_ready = true;
    } else if (!s_aabe.notify_enabled) {
        s_aabe.notify_ready = false;
    }
    k_mutex_unlock(&s_aabe_lock);

    LOG_INF("Notify[AABE] %s", s_aabe.notify_enabled ? "on" : "off");
}

ssize_t ble_on_aabe_read_request(struct bt_conn *conn, const struct bt_gatt_attr *attr,
                                 void *buf, uint16_t len, uint16_t offset)
{
    uint8_t wire[LOG_WIRE_MAX_LEN];
    uint16_t wire_len = 0;

    k_mutex_lock(&s_aabe_lock, K_FOREVER);
    if (s_aabe.has_latest) {
        wire_len = build_wire_locked(&s_aabe.latest, wire);
    }
    k_mutex_unlock(&s_aabe_lock);

    return bt_gatt_attr_read(conn, attr, buf, len, offset, wire, wire_len);
}

ssize_t ble_on_aabe_write_request(struct bt_conn *conn, const struct bt_gatt_attr *attr,
                                  const void *buf, uint16_t len, uint16_t offset,
                                  uint8_t flags)
{
    ARG_UNUSED(conn);
    ARG_UNUSED(attr);
    ARG_UNUSED(offset);
    ARG_UNUSED(flags);

    if (len < 3u) {
        return BT_GATT_ERR(BT_ATT_ERR_INVALID_ATTRIBUTE_LEN);
    }

    const uint8_t *d = (const uint8_t *)buf;
    uint8_t action = d[0];
    uint16_t log_id = sys_get_le16(&d[1]);

    if (action != LOG_ACTION_IGNORE && action != LOG_ACTION_HANDLED) {
        return BT_GATT_ERR(BT_ATT_ERR_VALUE_NOT_ALLOWED);
    }

    k_mutex_lock(&s_aabe_lock, K_FOREVER);
    if (s_aabe.pending_error_id != 0u ||
        (s_aabe.has_latest && s_aabe.latest.level == BLE_LOG_LEVEL_ERROR)) {
        s_aabe.pending_error_id = 0u;
        if (s_aabe.has_latest) {
            s_aabe.notify_len = build_wire_locked(&s_aabe.latest, s_aabe.notify_buf);
            s_aabe.notify_ready = s_aabe.notify_enabled;
        }
    }
    led_red_set(false);
    LOG_INF("AABE error latch cleared by host ack log %u", log_id);
    k_mutex_unlock(&s_aabe_lock);

    return (ssize_t)len;
}

int ble_log_event(ble_log_level_t level, uint16_t code, const char *message)
{
    if (level < BLE_LOG_LEVEL_INFO || level > BLE_LOG_LEVEL_ERROR) {
        return -EINVAL;
    }

    k_mutex_lock(&s_aabe_lock, K_FOREVER);

    uint16_t id = s_aabe.next_id++;
    if (id == 0u) {
        id = s_aabe.next_id++;
    }

    s_aabe.latest.id = id;
    s_aabe.latest.level = level;
    s_aabe.latest.uptime_ms = k_uptime_get_32();
    s_aabe.latest.code = code;
    snprintf(s_aabe.latest.message, sizeof(s_aabe.latest.message), "%s",
             message ? message : "");
    s_aabe.has_latest = true;

    if (level == BLE_LOG_LEVEL_ERROR) {
        s_aabe.pending_error_id = id;
    }

    if (s_aabe.notify_enabled) {
        s_aabe.notify_len = build_wire_locked(&s_aabe.latest, s_aabe.notify_buf);
        s_aabe.notify_ready = true;
    }

    k_mutex_unlock(&s_aabe_lock);
    return 0;
}

int ble_log_eventf(ble_log_level_t level, uint16_t code, const char *fmt, ...)
{
    char msg[LOG_MESSAGE_MAX_LEN + 1u];
    va_list ap;

    va_start(ap, fmt);
    vsnprintf(msg, sizeof(msg), fmt ? fmt : "", ap);
    va_end(ap);

    return ble_log_event(level, code, msg);
}

int ble_aabe_loop(void)
{
    uint8_t wire[LOG_WIRE_MAX_LEN];
    uint16_t wire_len;

    k_mutex_lock(&s_aabe_lock, K_FOREVER);
    if (!s_aabe.notify_enabled || !s_aabe.notify_ready) {
        k_mutex_unlock(&s_aabe_lock);
        return -EAGAIN;
    }
    wire_len = s_aabe.notify_len;
    memcpy(wire, s_aabe.notify_buf, wire_len);
    s_aabe.notify_ready = false;
    k_mutex_unlock(&s_aabe_lock);

    int err = bt_gatt_notify(NULL, &aabb_service.attrs[LOG_AABE_INDEX], wire, wire_len);
    if (err) {
        LOG_WRN("AABE notify err: %d", err);
    }
    return err;
}

int ble_aabe_init(void)
{
    memset(&s_aabe, 0, sizeof(s_aabe));
    s_aabe.next_id = 1u;
    return 0;
}
```

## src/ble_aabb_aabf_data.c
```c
#include "inc/ble_aabb_priv.h"
#include <zephyr/kernel.h>
#include <zephyr/sys/atomic.h>
#include <errno.h>
#include <string.h>
struct frame { uint16_t len; uint8_t data[208]; };
K_MSGQ_DEFINE(frames, sizeof(struct frame), 64, 4);
K_MUTEX_DEFINE(stream_lock);
static atomic_t subscribed;
static struct frame pending;
static bool have_pending;
void ble_ccc_cfg_changed_aabf(const struct bt_gatt_attr *attr,uint16_t value) {
 ARG_UNUSED(attr);
 k_mutex_lock(&stream_lock,K_FOREVER);
 atomic_set(&subscribed,value == BT_GATT_CCC_NOTIFY);
 if (!atomic_get(&subscribed)) { k_msgq_purge(&frames); have_pending=false; }
 k_mutex_unlock(&stream_lock);
}
bool ble_aabf_can_accept_frame(void) {
 return atomic_get(&subscribed) && k_msgq_num_free_get(&frames) >= 3;
}
int ble_aabf_notify_commit(const uint8_t *data,uint16_t len) {
 if (!data || !len || len>sizeof(pending.data)) return -EINVAL;
 if (!atomic_get(&subscribed)) return -ENOTCONN;
 struct frame f = {.len=len}; memcpy(f.data,data,len);
 return k_msgq_put(&frames,&f,K_NO_WAIT) ? -ENOBUFS : 0;
}
int ble_aabf_loop(void) {
 int rc=0;
 k_mutex_lock(&stream_lock,K_FOREVER);
 for (int i=0; i<8 && atomic_get(&subscribed); i++) {
  if (!have_pending) { if (k_msgq_get(&frames,&pending,K_NO_WAIT)) break; have_pending=true; }
  rc=bt_gatt_notify(NULL,&aabb_service.attrs[DATA_AABF_INDEX],pending.data,pending.len);
  if (rc) break; /* Retain the frame and retry, preserving order. */
  have_pending=false;
 }
 k_mutex_unlock(&stream_lock); return rc;
}
int ble_aabf_init(void) { return 0; }
```
